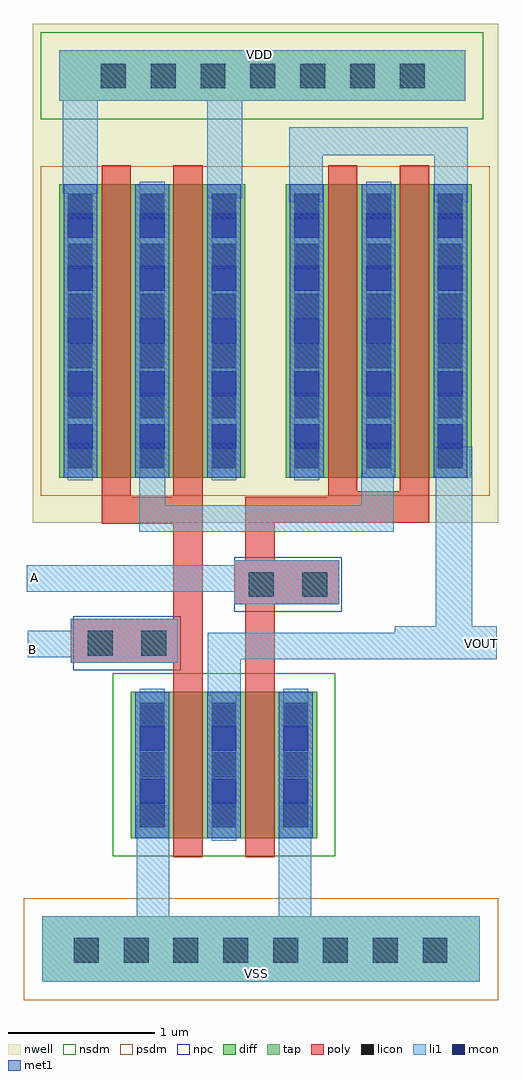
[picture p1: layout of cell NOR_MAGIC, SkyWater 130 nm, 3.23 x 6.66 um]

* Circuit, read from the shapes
.subckt NOR_MAGIC A B VDD VOUT VSS
XM1 VOUT B VSS VSS sky130_fd_pr__nfet_01v8 w=1 l=0.2
XM2 VSS A VOUT VSS sky130_fd_pr__nfet_01v8 w=1 l=0.2
XM3 n1 B VDD VDD sky130_fd_pr__pfet_01v8 w=2 l=0.2 m=2
XM4 n1 A VOUT VDD sky130_fd_pr__pfet_01v8 w=2 l=0.2 m=2
.ends

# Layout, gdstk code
import gdstk
lib = gdstk.Library(unit=1e-6, precision=1e-09)
def R(c, l, rs):  # rectangles x0, y0, x1, y1
    for r in rs: c.add(gdstk.rectangle(r[:2], r[2:], *l))
def A(c, l, x, y, w, h, nx, ny, dx, dy):  # array of equal rectangles
    R(c, l, [(x+i*dx, y+j*dy, x+i*dx+w, y+j*dy+h) for i in range(nx) for j in range(ny)])
nwell = (64, 20)
diff = (65, 20)
tap = (65, 44)
poly = (66, 20)
licon = (66, 44)
li1 = (67, 20)
mcon = (67, 44)
met1 = (68, 20)
nsdm = (93, 44)
psdm = (94, 20)
npc = (95, 20)

sky130_fd_pr__pfet_01v8_ = lib.new_cell('sky130_fd_pr__pfet_01v8_2PVZQB')
R(sky130_fd_pr__pfet_01v8_, nwell, [(-0.57,-1.31,0.57,1.31)])
R(sky130_fd_pr__pfet_01v8_, diff, [(-0.39,-1,0.39,1)])
R(sky130_fd_pr__pfet_01v8_, poly, [(-0.1,-1.13,0.1,1.13)])
A(sky130_fd_pr__pfet_01v8_, licon, -0.33, -0.935, 0.17, 0.17, 1, 6, 0, 0.34)
A(sky130_fd_pr__pfet_01v8_, licon, 0.16, -0.935, 0.17, 0.17, 1, 6, 0, 0.34)
R(sky130_fd_pr__pfet_01v8_, li1, [(-0.33,-1.02,-0.16,1.02), (0.16,-1.02,0.33,1.02)])
A(sky130_fd_pr__pfet_01v8_, mcon, -0.33, -0.805, 0.17, 0.17, 1, 5, 0, 0.36)
A(sky130_fd_pr__pfet_01v8_, mcon, 0.16, -0.805, 0.17, 0.17, 1, 5, 0, 0.36)
R(sky130_fd_pr__pfet_01v8_, met1, [(-0.36,-1,-0.13,1), (0.13,-1,0.36,1)])
R(sky130_fd_pr__pfet_01v8_, psdm, [(-0.515,-1.125,0.515,1.125)])

sky130_fd_pr__nfet_01v8_ = lib.new_cell('sky130_fd_pr__nfet_01v8_NUEGCF')
R(sky130_fd_pr__nfet_01v8_, diff, [(-0.39,-0.5,0.39,0.5)])
R(sky130_fd_pr__nfet_01v8_, poly, [(-0.1,-0.63,0.1,0.63)])
A(sky130_fd_pr__nfet_01v8_, licon, -0.33, -0.425, 0.17, 0.17, 1, 3, 0, 0.34)
A(sky130_fd_pr__nfet_01v8_, licon, 0.16, -0.425, 0.17, 0.17, 1, 3, 0, 0.34)
R(sky130_fd_pr__nfet_01v8_, li1, [(-0.33,-0.52,-0.16,0.52), (0.16,-0.52,0.33,0.52)])
R(sky130_fd_pr__nfet_01v8_, mcon, [(-0.33,-0.265,-0.16,-0.095), (0.16,-0.265,0.33,-0.095), (-0.33,0.095,-0.16,0.265), (0.16,0.095,0.33,0.265)])
R(sky130_fd_pr__nfet_01v8_, met1, [(-0.36,-0.5,-0.13,0.5), (0.13,-0.5,0.36,0.5)])
R(sky130_fd_pr__nfet_01v8_, nsdm, [(-0.515,-0.625,0.515,0.625)])

nor_magic = lib.new_cell('NOR_MAGIC')
R(nor_magic, nwell, [(1.75,2.19,1.98,2.205), (2.74,2.19,2.97,2.255), (1.74,2.205,1.98,2.51), (1.19,2.215,1.43,2.62), (2.735,2.255,2.97,2.51), (1.74,2.51,2.97,2.62), (0,2.62,3.175,3.405)])
R(nor_magic, tap, [(0.065,-3.13,3.05,-2.685), (0.18,2.88,2.95,3.225)])
R(nor_magic, poly, [(0.96,-1.02,1.16,-0.955), (1.45,-1.02,1.65,-0.555), (0.26,-0.955,1.16,-0.655), (0.96,-0.655,1.16,-0.005), (1.375,-0.555,2.09,-0.255), (1.45,-0.255,1.65,0), (0.47,-0.005,1.16,0.18), (1.45,0,2.705,0.18), (0.96,0.18,1.16,0.22), (2.015,0.18,2.705,0.215)])
A(nor_magic, licon, 0.28, -3, 0.17, 0.17, 8, 1, 0.34, 0)
A(nor_magic, licon, 0.465, 2.965, 0.17, 0.17, 7, 1, 0.34, 0)
R(nor_magic, licon, [(0.375,-0.905,0.545,-0.735), (0.74,-0.905,0.91,-0.735), (1.475,-0.505,1.645,-0.335), (1.84,-0.505,2.01,-0.335)])
R(nor_magic, li1, [(0.065,-3.13,3.05,-2.685), (0.71,-2.685,0.93,-1.925), (1.68,-2.685,1.9,-1.93), (1.195,-1.175,1.42,-0.93), (0.26,-0.955,0.99,-0.915), (1.195,-0.93,3.165,-0.75), (-0.035,-0.915,0.99,-0.735), (2.47,-0.75,3.165,-0.705), (0.26,-0.735,0.99,-0.655), (2.75,-0.705,3,0.52), (1.375,-0.555,2.09,-0.47), (-0.04,-0.47,2.09,-0.29), (1.375,-0.29,2.09,-0.255), (0.725,-0.06,2.465,0.12), (0.725,0.12,0.905,0.315), (2.24,0.12,2.465,0.34), (1.75,2.19,1.98,2.51), (2.74,2.19,2.97,2.51), (1.19,2.215,1.43,2.88), (0.205,2.245,0.445,2.88), (1.75,2.51,2.97,2.7), (0.18,2.88,2.95,3.225)])
R(nor_magic, nsdm, [(0.055,2.755,3.075,3.35)])
R(nor_magic, psdm, [(-0.06,-3.255,3.175,-2.56), (1.575,0.185,1.6,2.435)])
R(nor_magic, npc, [(0.275,-1.005,1.01,-0.635), (1.375,-0.605,2.11,-0.235)])
nor_magic.add(gdstk.Reference(sky130_fd_pr__pfet_01v8_, (0.57,1.31)))
nor_magic.add(gdstk.Reference(sky130_fd_pr__pfet_01v8_, (1.06,1.31)))
nor_magic.add(gdstk.Reference(sky130_fd_pr__pfet_01v8_, (2.115,1.31)))
nor_magic.add(gdstk.Reference(sky130_fd_pr__pfet_01v8_, (2.605,1.31)))
nor_magic.add(gdstk.Reference(sky130_fd_pr__nfet_01v8_, (1.06,-1.65)))
nor_magic.add(gdstk.Reference(sky130_fd_pr__nfet_01v8_, (1.55,-1.65)))
nor_magic.add(gdstk.Label('A', (0.015,-0.37), layer=67, texttype=5))
nor_magic.add(gdstk.Label('B', (0,-0.86), layer=67, texttype=5))
nor_magic.add(gdstk.Label('VOUT', (3.06,-0.82), layer=67, texttype=5))
nor_magic.add(gdstk.Label('VDD', (1.545,3.2), layer=67, texttype=5))
nor_magic.add(gdstk.Label('VSS', (1.53,-3.075), layer=67, texttype=5))

lib.write_gds('NOR_MAGIC.gds')
